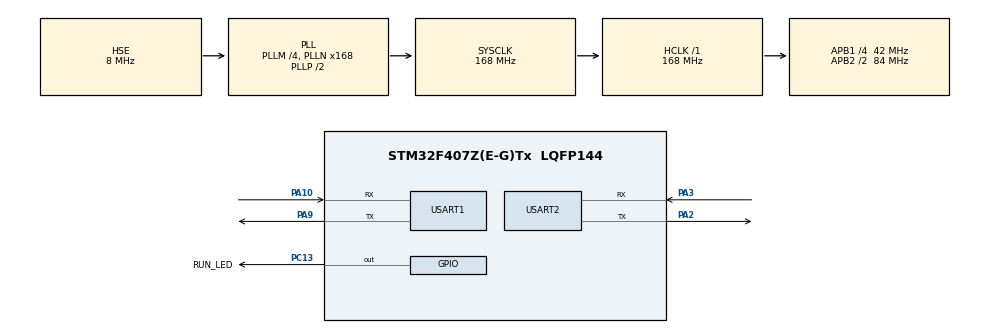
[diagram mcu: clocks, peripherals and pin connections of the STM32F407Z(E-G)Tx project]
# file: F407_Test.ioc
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Dma.Request0=USART1_RX
Dma.Request1=USART1_TX
Dma.Request2=USART2_RX
Dma.USART1_RX.0.Direction=DMA_PERIPH_TO_MEMORY
Dma.USART1_RX.0.FIFOMode=DMA_FIFOMODE_ENABLE
Dma.USART1_RX.0.FIFOThreshold=DMA_FIFO_THRESHOLD_HALFFULL
Dma.USART1_RX.0.Instance=DMA2_Stream2
Dma.USART1_RX.0.MemBurst=DMA_MBURST_SINGLE
Dma.USART1_RX.0.MemDataAlignment=DMA_MDATAALIGN_BYTE
Dma.USART1_RX.0.MemInc=DMA_MINC_ENABLE
Dma.USART1_RX.0.Mode=DMA_NORMAL
Dma.USART1_RX.0.PeriphBurst=DMA_PBURST_SINGLE
Dma.USART1_RX.0.PeriphDataAlignment=DMA_PDATAALIGN_BYTE
Dma.USART1_RX.0.PeriphInc=DMA_PINC_DISABLE
Dma.USART1_RX.0.Priority=DMA_PRIORITY_LOW
Dma.USART1_TX.1.Direction=DMA_MEMORY_TO_PERIPH
Dma.USART1_TX.1.FIFOMode=DMA_FIFOMODE_ENABLE
Dma.USART1_TX.1.FIFOThreshold=DMA_FIFO_THRESHOLD_HALFFULL
Dma.USART1_TX.1.Instance=DMA2_Stream7
Dma.USART1_TX.1.MemBurst=DMA_MBURST_SINGLE
Dma.USART1_TX.1.MemDataAlignment=DMA_MDATAALIGN_BYTE
Dma.USART1_TX.1.MemInc=DMA_MINC_ENABLE
Dma.USART1_TX.1.Mode=DMA_NORMAL
Dma.USART1_TX.1.PeriphBurst=DMA_PBURST_SINGLE
Dma.USART1_TX.1.PeriphDataAlignment=DMA_PDATAALIGN_BYTE
Dma.USART1_TX.1.PeriphInc=DMA_PINC_DISABLE
Dma.USART1_TX.1.Priority=DMA_PRIORITY_LOW
Dma.USART2_RX.2.Direction=DMA_PERIPH_TO_MEMORY
Dma.USART2_RX.2.FIFOMode=DMA_FIFOMODE_ENABLE
Dma.USART2_RX.2.FIFOThreshold=DMA_FIFO_THRESHOLD_HALFFULL
Dma.USART2_RX.2.Instance=DMA1_Stream5
Dma.USART2_RX.2.MemBurst=DMA_MBURST_SINGLE
Dma.USART2_RX.2.MemDataAlignment=DMA_MDATAALIGN_BYTE
Dma.USART2_RX.2.MemInc=DMA_MINC_ENABLE
Dma.USART2_RX.2.Mode=DMA_NORMAL
Dma.USART2_RX.2.PeriphBurst=DMA_PBURST_SINGLE
Dma.USART2_RX.2.PeriphDataAlignment=DMA_PDATAALIGN_BYTE
Dma.USART2_RX.2.PeriphInc=DMA_PINC_DISABLE
Dma.USART2_RX.2.Priority=DMA_PRIORITY_LOW
Mcu.Family=STM32F4
Mcu.Name=STM32F407Z(E-G)Tx
Mcu.Package=LQFP144
NVIC.DMA1_Stream5_IRQn=true\:0\:0\:false\:false\:true\:false\:true\:true
NVIC.DMA2_Stream2_IRQn=true\:0\:0\:false\:false\:true\:false\:true\:true
NVIC.DMA2_Stream7_IRQn=true\:0\:0\:false\:false\:true\:false\:true\:true
NVIC.PriorityGroup=NVIC_PRIORITYGROUP_4
NVIC.TIM1_UP_TIM10_IRQn=true\:15\:0\:false\:false\:true\:false\:true\:true
NVIC.TimeBase=TIM1_UP_TIM10_IRQn
NVIC.TimeBaseIP=TIM1
NVIC.USART1_IRQn=true\:0\:0\:false\:false\:true\:true\:true\:true
NVIC.USART2_IRQn=true\:0\:0\:false\:false\:true\:true\:true\:true
PA10.Mode=Asynchronous
PA10.Signal=USART1_RX
PA13.Mode=Serial_Wire
PA13.Signal=SYS_JTMS-SWDIO
PA14.Mode=Serial_Wire
PA14.Signal=SYS_JTCK-SWCLK
PA2.Mode=Asynchronous
PA2.Signal=USART2_TX
PA3.Mode=Asynchronous
PA3.Signal=USART2_RX
PA9.Mode=Asynchronous
PA9.Signal=USART1_TX
PC13-ANTI_TAMP.GPIO_Label=RUN_LED
PC13-ANTI_TAMP.GPIO_ModeDefaultOutputPP=GPIO_MODE_OUTPUT_PP
PC13-ANTI_TAMP.GPIO_PuPd=GPIO_PULLUP
PC13-ANTI_TAMP.GPIO_Speed=GPIO_SPEED_FREQ_LOW
PC13-ANTI_TAMP.PinState=GPIO_PIN_RESET
PC13-ANTI_TAMP.Signal=GPIO_Output
PC14-OSC32_IN.Mode=LSE-External-Oscillator
PC14-OSC32_IN.Signal=RCC_OSC32_IN
PC15-OSC32_OUT.Mode=LSE-External-Oscillator
PC15-OSC32_OUT.Signal=RCC_OSC32_OUT
PH0-OSC_IN.Mode=HSE-External-Oscillator
PH0-OSC_IN.Signal=RCC_OSC_IN
PH1-OSC_OUT.Mode=HSE-External-Oscillator
PH1-OSC_OUT.Signal=RCC_OSC_OUT
ProjectManager.HeapSize=0x200
ProjectManager.StackSize=0x400
ProjectManager.TargetToolchain=MDK-ARM V5.32
RCC.48MHZClocksFreq_Value=84000000
RCC.AHBFreq_Value=168000000
RCC.APB1CLKDivider=RCC_HCLK_DIV4
RCC.APB1Freq_Value=42000000
RCC.APB1TimFreq_Value=84000000
RCC.APB2CLKDivider=RCC_HCLK_DIV2
RCC.APB2Freq_Value=84000000
RCC.APB2TimFreq_Value=168000000
RCC.CortexFreq_Value=168000000
RCC.HCLKFreq_Value=168000000
RCC.HSE_VALUE=8000000
RCC.HSI_VALUE=16000000
RCC.PLLM=4
RCC.PLLN=168
RCC.PLLSourceVirtual=RCC_PLLSOURCE_HSE
RCC.SYSCLKFreq_VALUE=168000000
RCC.SYSCLKSource=RCC_SYSCLKSOURCE_PLLCLK
RCC.VCOOutputFreq_Value=336000000
USART1.VirtualMode=VM_ASYNC
USART2.VirtualMode=VM_ASYNC
VP_SYS_VS_tim1.Mode=TIM1
board=custom

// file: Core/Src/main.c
/* USER CODE BEGIN Header */
/**
 ******************************************************************************
 * @file           : main.c
 * @brief          : Main program body
 ******************************************************************************
 * @attention
 *
 * Copyright (c) 2024 STMicroelectronics.
 * All rights reserved.
 *
 * This software is licensed under terms that can be found in the LICENSE file
 * in the root directory of this software component.
 * If no LICENSE file comes with this software, it is provided AS-IS.
 *
 ******************************************************************************
 */
/* USER CODE END Header */
#include "main.h"
#include "dma.h"
#include "usart.h"
#include "gpio.h"

/* USER CODE BEGIN Includes */
#include <string.h>

#include "FreeRTOS.h"
#include "task.h"

#include "timestamp.h"
#include "uart_api.h"
#include "shell_port.h"
#include "perf_counter.h"
/* USER CODE END Includes */

/* USER CODE BEGIN PV */
static TaskHandle_t LED_Task_Handle;
static TaskHandle_t Shell_Task_Handle;
/* USER CODE END PV */

void SystemClock_Config(void);
/* USER CODE BEGIN PFP */
void HardWare_Init(void);

void LED_Task(void *param);
void Shell_Task(void *param);
/* USER CODE END PFP */

/* USER CODE BEGIN 0 */

void LED_Task(void *param)
{
    while (1)
    {
        HAL_GPIO_TogglePin(RUN_LED_GPIO_Port, RUN_LED_Pin);
        my_delay_ms(1000);
    }
}

void Shell_Task(void *param)
{
    while (1)
    {
        LetterShell_Manage();
        my_delay_ms(1);
    }
}

void HardWare_Init(void)
{
    LetterShell_Init();
}
/* USER CODE END 0 */

int main(void)
{

    /* USER CODE BEGIN 1 */
    uint8_t i = 0;
    /* USER CODE END 1 */

    /* MCU Configuration--------------------------------------------------------*/

    /* Reset of all peripherals, Initializes the Flash interface and the Systick. */
    HAL_Init();

    /* USER CODE BEGIN Init */
    init_cycle_counter(true);
    /* USER CODE END Init */

    /* Configure the system clock */
    SystemClock_Config();

    /* Initialize all configured peripherals */
    MX_GPIO_Init();
    MX_DMA_Init();
    MX_USART1_UART_Init();
    MX_USART2_UART_Init();
    /* USER CODE BEGIN 2 */
    HardWare_Init();

    xTaskCreate((TaskFunction_t)LED_Task,
                (const char *)"LED_Task",
                (uint16_t)128,
                (void *)NULL,
                (UBaseType_t)2,
                (TaskHandle_t *)&LED_Task_Handle);
    i++;

    xTaskCreate((TaskFunction_t)Shell_Task,
                (const char *)"Shell_Task",
                (uint16_t)128,
                (void *)NULL,
                (UBaseType_t)2,
                (TaskHandle_t *)&Shell_Task_Handle);
    i++;

    vTaskStartScheduler();
    /* USER CODE END 2 */

    /* Infinite loop */
    while (1)
    {

    }
}

void SystemClock_Config(void)
{
    RCC_OscInitTypeDef RCC_OscInitStruct = {0};
    RCC_ClkInitTypeDef RCC_ClkInitStruct = {0};

    /** Configure the main internal regulator output voltage
     */
    __HAL_RCC_PWR_CLK_ENABLE();
    __HAL_PWR_VOLTAGESCALING_CONFIG(PWR_REGULATOR_VOLTAGE_SCALE1);

    /** Initializes the RCC Oscillators according to the specified parameters
     * in the RCC_OscInitTypeDef structure.
     */
    RCC_OscInitStruct.OscillatorType = RCC_OSCILLATORTYPE_HSE;
    RCC_OscInitStruct.HSEState = RCC_HSE_ON;
    RCC_OscInitStruct.PLL.PLLState = RCC_PLL_ON;
    RCC_OscInitStruct.PLL.PLLSource = RCC_PLLSOURCE_HSE;
    RCC_OscInitStruct.PLL.PLLM = 4;
    RCC_OscInitStruct.PLL.PLLN = 168;
    RCC_OscInitStruct.PLL.PLLP = RCC_PLLP_DIV2;
    RCC_OscInitStruct.PLL.PLLQ = 4;
    if (HAL_RCC_OscConfig(&RCC_OscInitStruct) != HAL_OK)
    {
        Error_Handler();
    }

    /** Initializes the CPU, AHB and APB buses clocks
     */
    RCC_ClkInitStruct.ClockType = RCC_CLOCKTYPE_HCLK | RCC_CLOCKTYPE_SYSCLK | RCC_CLOCKTYPE_PCLK1 | RCC_CLOCKTYPE_PCLK2;
    RCC_ClkInitStruct.SYSCLKSource = RCC_SYSCLKSOURCE_PLLCLK;
    RCC_ClkInitStruct.AHBCLKDivider = RCC_SYSCLK_DIV1;
    RCC_ClkInitStruct.APB1CLKDivider = RCC_HCLK_DIV4;
    RCC_ClkInitStruct.APB2CLKDivider = RCC_HCLK_DIV2;

    if (HAL_RCC_ClockConfig(&RCC_ClkInitStruct, FLASH_LATENCY_5) != HAL_OK)
    {
        Error_Handler();
    }
}

void HAL_TIM_PeriodElapsedCallback(TIM_HandleTypeDef *htim)
{
    if (htim->Instance == TIM1)
    {
        HAL_IncTick();
    }
}

void Error_Handler(void)
{
    __disable_irq();
    while (1)
    {
    }
}
